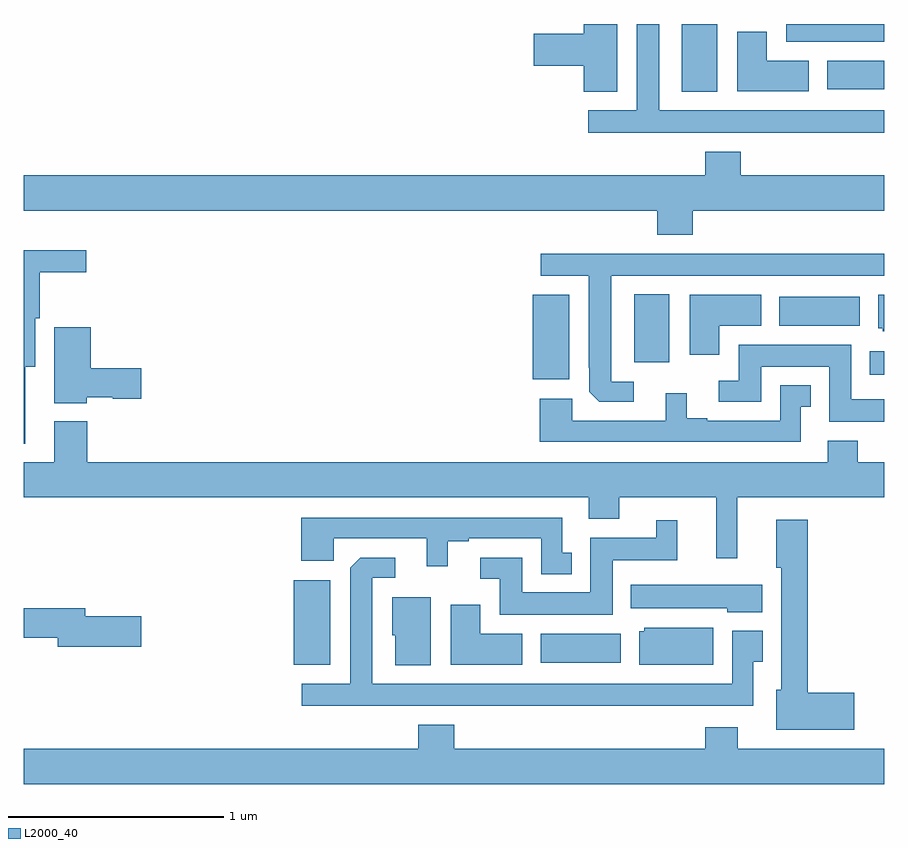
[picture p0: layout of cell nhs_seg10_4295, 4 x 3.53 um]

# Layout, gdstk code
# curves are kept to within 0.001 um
import gdstk
lib = gdstk.Library(unit=1e-6, precision=1e-09)
def R(c, l, rs):  # rectangles x0, y0, x1, y1
    for r in rs: c.add(gdstk.rectangle(r[:2], r[2:], *l))
def P(c, l, *ps):  # polygons
    for p in ps: c.add(gdstk.Polygon(p, *l))
L2000_40 = (2000, 40)

nhs_seg10_4295 = lib.new_cell('nhs_seg10_4295')
R(nhs_seg10_4295, L2000_40, [(352.256,1315.523,352.426,1315.915), (353.402,1315.532,353.776,1315.666), (353.366,1316.849,353.536,1317.241), (354.932,1316.87,355,1316.98), (353.837,1316.928,354.001,1317.244), (354.512,1317.098,354.886,1317.232), (354.059,1318.184,354.223,1318.5), (354.734,1318.196,355,1318.33), (354.545,1318.418,355,1318.5)])
P(nhs_seg10_4295, L2000_40, [(355,1318.099),(353.953,1318.099),(353.953,1318.5),(353.849,1318.5),(353.849,1318.099),(353.625,1318.099),(353.625,1317.995),(355,1317.995)],
  [(353.758,1318.5),(353.603,1318.5),(353.603,1318.454),(353.37,1318.454),(353.37,1318.307),(353.603,1318.307),(353.603,1318.184),(353.758,1318.184)],
  [(354.649,1318.33),(354.454,1318.33),(354.454,1318.465),(354.317,1318.465),(354.317,1318.187),(354.649,1318.187)],
  [(354.11,1317.632),(355,1317.632),(355,1317.796),(354.332,1317.796),(354.332,1317.907),(354.167,1317.907),(354.167,1317.796),(351,1317.796),(351,1317.632),(353.945,1317.632),(353.945,1317.521),(354.11,1317.521)],
  [(351.007,1316.907),(351.054,1316.907),(351.054,1317.132),(351.074,1317.132),(351.074,1317.346),(351.292,1317.346),(351.292,1317.449),(351,1317.449),(351,1316.55),(351.007,1316.55)],
  [(353.836,1316.838),(353.731,1316.838),(353.731,1317.329),(355,1317.329),(355,1317.433),(353.403,1317.433),(353.403,1317.329),(353.627,1317.329),(353.628,1316.791),(353.674,1316.745),(353.836,1316.745)],
  [(354.232,1317.098),(354.427,1317.098),(354.427,1317.241),(354.095,1317.241),(354.095,1316.964),(354.232,1316.964)],
  [(355,1317.241),(354.971,1317.241),(354.971,1317.087),(354.993,1317.087),(354.993,1317.071),(355,1317.071)],
  [(351.294,1316.765),(351.414,1316.765),(351.414,1316.758),(351.547,1316.758),(351.547,1316.9),(351.311,1316.9),(351.311,1317.091),(351.143,1317.091),(351.143,1316.738),(351.294,1316.738)],
  [(355,1316.755),(354.847,1316.755),(354.847,1317.01),(354.323,1317.01),(354.323,1316.841),(354.231,1316.841),(354.231,1316.745),(354.427,1316.745),(354.427,1316.906),(354.743,1316.906),(354.743,1316.651),(355,1316.651)],
  [(354.612,1316.721),(354.658,1316.721),(354.658,1316.821),(354.516,1316.821),(354.516,1316.655),(354.178,1316.655),(354.178,1316.668),(354.082,1316.668),(354.082,1316.785),(353.984,1316.785),(353.984,1316.655),(353.55,1316.655),(353.55,1316.758),(353.399,1316.758),(353.399,1316.559),(354.612,1316.559)],
  [(354.317,1316.3),(355,1316.3),(355,1316.464),(354.877,1316.464),(354.877,1316.563),(354.737,1316.563),(354.737,1316.464),(351.296,1316.464),(351.296,1316.653),(351.143,1316.653),(351.143,1316.464),(351,1316.464),(351,1316.3),(353.627,1316.3),(353.627,1316.201),(353.767,1316.201),(353.767,1316.3),(354.218,1316.3),(354.218,1316.016),(354.317,1316.016)],
  [(353.548,1316.043),(353.502,1316.043),(353.502,1316.205),(352.289,1316.205),(352.289,1316.006),(352.44,1316.006),(352.44,1316.109),(352.874,1316.109),(352.874,1315.98),(352.972,1315.98),(352.972,1316.097),(353.068,1316.097),(353.068,1316.109),(353.406,1316.109),(353.406,1315.943),(353.548,1315.943)],
  [(354.859,1315.391),(354.644,1315.391),(354.644,1316.197),(354.497,1316.197),(354.497,1315.974),(354.521,1315.974),(354.521,1315.407),(354.497,1315.407),(354.497,1315.22),(354.859,1315.22)],
  [(353.737,1316.009),(354.038,1316.009),(354.038,1316.194),(353.939,1316.194),(353.939,1316.113),(353.633,1316.113),(353.633,1315.858),(353.317,1315.858),(353.317,1316.019),(353.121,1316.019),(353.121,1315.923),(353.213,1315.923),(353.213,1315.754),(353.737,1315.754)],
  [(354.391,1315.537),(354.436,1315.537),(354.436,1315.681),(354.294,1315.681),(354.294,1315.435),(352.621,1315.435),(352.621,1315.926),(352.726,1315.926),(352.726,1316.019),(352.564,1316.019),(352.518,1315.973),(352.517,1315.435),(352.293,1315.435),(352.293,1315.331),(354.391,1315.331)],
  [(354.433,1315.894),(353.822,1315.894),(353.822,1315.784),(354.27,1315.784),(354.27,1315.766),(354.433,1315.766)],
  [(352.891,1315.837),(352.712,1315.837),(352.712,1315.659),(352.727,1315.659),(352.727,1315.52),(352.891,1315.52)],
  [(353.317,1315.666),(353.122,1315.666),(353.122,1315.801),(352.985,1315.801),(352.985,1315.523),(353.317,1315.523)],
  [(351.547,1315.748),(351.286,1315.748),(351.286,1315.784),(351,1315.784),(351,1315.648),(351.158,1315.648),(351.158,1315.606),(351.547,1315.606)],
  [(354.205,1315.693),(353.883,1315.693),(353.883,1315.677),(353.861,1315.677),(353.861,1315.523),(354.205,1315.523)],
  [(355,1315.132),(354.319,1315.132),(354.319,1315.231),(354.167,1315.231),(354.167,1315.132),(353,1315.132),(353,1315.243),(352.835,1315.243),(352.835,1315.132),(351,1315.132),(351,1314.968),(355,1314.968)])

lib.write_gds('nhs_seg10_4295.gds')
